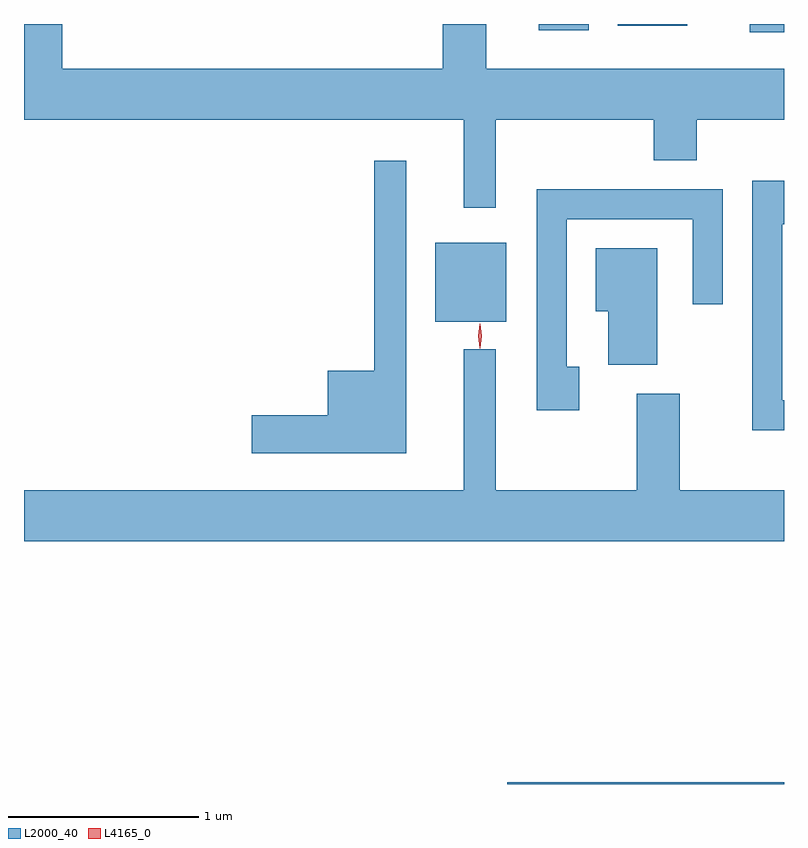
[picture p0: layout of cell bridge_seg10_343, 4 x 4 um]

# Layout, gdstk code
import gdstk
lib = gdstk.Library(unit=1e-6, precision=1e-09)
def R(c, l, rs):  # rectangles x0, y0, x1, y1
    for r in rs: c.add(gdstk.rectangle(r[:2], r[2:], *l))
def P(c, l, *ps):  # polygons
    for p in ps: c.add(gdstk.Polygon(p, *l))
L2000_40 = (2000, 40)
L4165_0 = (4165, 0)

bridge_seg10_343 = lib.new_cell('bridge_seg10_343')
R(bridge_seg10_343, L2000_40, [(1122.001,2161.479,1123.457,2161.489), (1121.621,2163.911,1121.994,2164.329), (1123.276,2165.436,1123.457,2165.479), (1122.166,2165.446,1122.429,2165.479), (1122.581,2165.471,1122.949,2165.479)])
P(bridge_seg10_343, L2000_40, [(1121.889,2165.479),(1121.661,2165.479),(1121.661,2165.244),(1119.659,2165.244),(1119.659,2165.479),(1119.457,2165.479),(1119.457,2164.976),(1121.771,2164.976),(1121.771,2164.513),(1121.939,2164.513),(1121.939,2164.976),(1122.771,2164.976),(1122.771,2164.761),(1122.999,2164.761),(1122.999,2164.976),(1123.457,2164.976),(1123.457,2165.244),(1121.889,2165.244)],
  [(1121.469,2164.758),(1121.301,2164.758),(1121.301,2163.654),(1121.056,2163.654),(1121.056,2163.419),(1120.656,2163.419),(1120.656,2163.221),(1121.469,2163.221)],
  [(1123.457,2163.499),(1123.449,2163.499),(1123.449,2164.426),(1123.457,2164.426),(1123.457,2164.654),(1123.291,2164.654),(1123.291,2163.341),(1123.457,2163.341)],
  [(1122.379,2163.674),(1122.314,2163.674),(1122.314,2164.451),(1122.976,2164.451),(1122.976,2164.003),(1123.134,2164.003),(1123.134,2164.609),(1122.156,2164.609),(1122.156,2163.446),(1122.379,2163.446)],
  [(1122.789,2164.299),(1122.466,2164.299),(1122.466,2163.966),(1122.531,2163.966),(1122.531,2163.686),(1122.789,2163.686)],
  [(1123.457,2163.024),(1122.909,2163.024),(1122.909,2163.534),(1122.681,2163.534),(1122.681,2163.024),(1121.939,2163.024),(1121.939,2163.768),(1121.771,2163.768),(1121.771,2163.024),(1119.457,2163.024),(1119.457,2162.756),(1123.457,2162.756)])
P(bridge_seg10_343, L4165_0, [(1121.856,2163.773),(1121.856,2163.773),(1121.847,2163.837),(1121.856,2163.901),(1121.857,2163.902),(1121.858,2163.901),(1121.866,2163.837),(1121.857,2163.773)])

lib.write_gds('bridge_seg10_343.gds')
